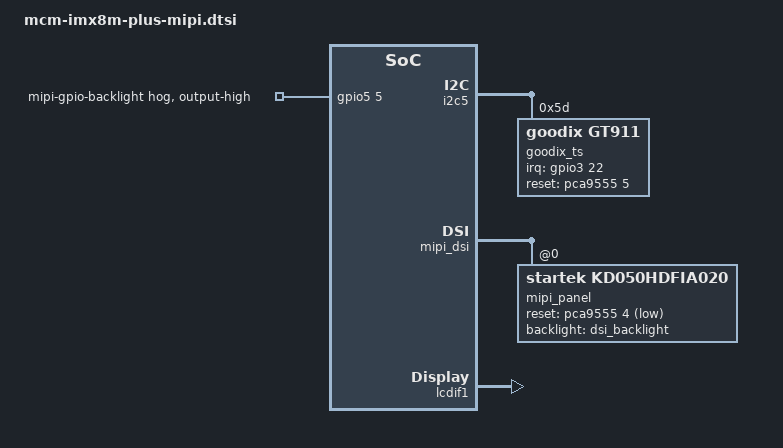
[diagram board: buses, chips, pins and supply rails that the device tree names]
&{/} {
	dsi_backlight: dsi_backlight {
		compatible = "pwm-backlight";
		pwms = <&pwm1 0 3000000 0>;
		brightness-levels = <0 255>;
		num-interpolated-steps = <255>;
		default-brightness-level = <255>;
		status = "okay";
	};
};

&i2c5 {
	#address-cells = <1>;
	#size-cells = <0>;
	status = "okay";

	goodix_ts@5d {
		compatible = "goodix,gt911";
		reg = <0x5d>;

		interrupt-parent = <&gpio3>;
		interrupts = <22 IRQ_TYPE_LEVEL_HIGH>;

		pinctrl-names = "default";
		pinctrl-0 = <&touchscreen_pins>;

		irq-gpios = <&gpio3 22 GPIO_ACTIVE_HIGH>;
		reset-gpios = <&pca9555 5 GPIO_ACTIVE_HIGH>;
		status = "okay";
	};
};

&iomuxc {
	pinctrl_pwm1: pwm1grp {
		fsl,pins = <
			MX8MP_IOMUXC_SPDIF_EXT_CLK__PWM1_OUT	0x116
		>;
	};

	touchscreen_pins: tsgrp {
		fsl,pins = <
			MX8MP_IOMUXC_SAI5_RXD1__GPIO3_IO22	0x00
		>;
	};
};

&pwm1 {
	pinctrl-names = "default";
	pinctrl-0 = <&pinctrl_pwm1>;
	status = "okay";
};

&mipi_dsi {
	#address-cells = <1>;
	#size-cells = <0>;
	status = "okay";
	mipi_panel: panel@0 {
		compatible = "startek,kd050hdfia020";
		reg = <0>;
		reset-gpios = <&pca9555 4 GPIO_ACTIVE_LOW>;
		dsi-lanes = <4>;
		backlight = <&dsi_backlight>;
		status = "okay";
	};
};

&lcdif1 {
	status = "okay";
};

#define MIPI_DSI_BACKLIGHT_GPIO
#ifdef MIPI_DSI_BACKLIGHT_GPIO
&dsi_backlight {
	status = "disabled";
};

&pwm1 {
	status = "disabled";
};

&mipi_dsi {
	/delete-property/ backlight;
};

&iomuxc {
	pinctrl_mipibl: pwm1mpipbl {
		fsl,pins = <
			MX8MP_IOMUXC_SPDIF_EXT_CLK__GPIO5_IO05  0x41
		>;
	};
};

&gpio5 {
	regulator-mipi-gpio-blcklight {
		gpio-hog;
		gpios = <5 GPIO_ACTIVE_HIGH>;
		line-name = "mipi-gpio-backlight";
		output-high;
		pinctrl-names = "default";
		pinctrl-0 = <&pinctrl_mipibl>;
	};
};
#endif
